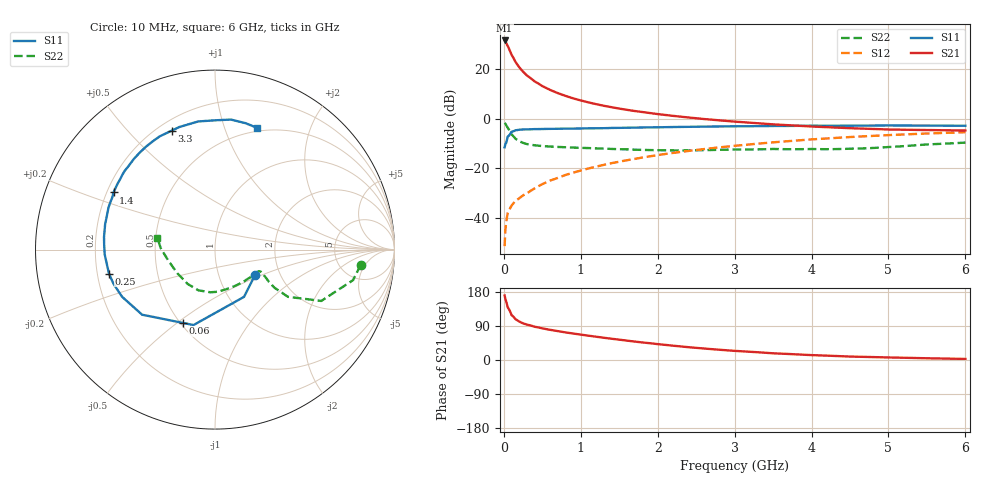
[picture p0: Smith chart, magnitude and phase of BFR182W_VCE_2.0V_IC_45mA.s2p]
! Infineon Technologies  Discrete & RF Semiconductors
! BFR182W
! VCE =  2.0 V,  IC =  45 mA
! Common Emitter S-Parameters:  Jan 2017
# GHz  S  MA  R  50
!  f  S11  S21  S12  S22
! GHz  MAG  ANG  MAG  ANG  MAG  ANG  MAG  ANG
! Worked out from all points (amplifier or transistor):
!   77 points, 10 MHz to 6 GHz, reference 50 ohm
!   highest |S21| = 31.5 dB at 10 MHz (marker M1)
!   |S21| within 3 dB of that: start of sweep to 62.06 MHz
!   unconditionally stable (mu >= 1): start of sweep to 15.82 MHz; 214.8 MHz to 3.468 GHz; 4.084 GHz to end of sweep (the widest 3 of 4)
!   at 130 MHz: K = 0.78, MSG = 29.0 dB, |S12| = -33.9 dB
!   at 2.2 GHz: K = 1.10, MAG = 5.5 dB, |S12| = -13.8 dB
!   at 6 GHz: K = 1.05, MAG = -1.1 dB, |S12| = -5.5 dB
!   S11 on the Smith chart (normalised r, x): 10 MHz: 1.49, -0.46; 60 MHz: 0.52, -0.53; 250 MHz: 0.25, -0.11; 1.4 GHz: 0.23, +0.25; 3.3 GHz: 0.25, +0.67; 6 GHz: 0.46, +1.30
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0.01  0.2643 -32.8  37.53 170.3  0.0027 66.4  0.8164 -6.0
0.02  0.309 -58.4  36.43 161.3  0.0058 66.5  0.7876 -12.5
0.04  0.3688 -94.0  31.03 147.5  0.0103 60.6  0.6966 -20.8
0.05  0.437 -105.9  29.18 139.0  0.0125 59.2  0.6577 -25.8
0.06  0.4455 -113.4  27.01 136.1  0.0135 58.0  0.6224 -26.9
0.1  0.5445 -138.2  19.43 118.5  0.0176 54.7  0.4844 -32.9
0.15  0.5807 -153.1  14 108.0  0.0219 53.4  0.3952 -32.7
0.2  0.5968 -161.4  10.83 101.5  0.0249 57.3  0.3504 -30.9
0.25  0.6055 -167.2  8.813 96.7  0.0285 59.9  0.3248 -29.0
0.3  0.6074 -171.6  7.396 93.4  0.0313 61.6  0.3073 -27.6
0.4  0.6153 -177.6  5.626 87.8  0.0394 66.1  0.2903 -26.1
0.5  0.6182 177.4  4.524 83.5  0.0479 68.8  0.2802 -25.7
0.7  0.6243 170.2  3.269 76.3  0.0639 72.1  0.2692 -27.0
0.9  0.6296 163.9  2.563 69.9  0.0815 72.6  0.2613 -30.1
1.1  0.6381 158.3  2.124 64.2  0.0992 72.8  0.2553 -34.0
1.4  0.6486 150.6  1.7 56.1  0.1267 72.2  0.2453 -41.2
2.1  0.6729 134.2  1.185 39.9  0.1941 67.7  0.2299 -63.8
3.1  0.7023 114.0  0.849 22.9  0.2931 57.9  0.2388 -99.2
3.3  0.7052 110.1  0.807 20.5  0.3129 55.7  0.2404 -105.6
4.1  0.7191 95.9  0.683 12.2  0.3901 46.3  0.243 -132.5
5.1  0.728 81.7  0.601 6.3  0.4729 34.1  0.2732 -170.2
6  0.7178 71.0  0.577 2.8  0.5329 23.4  0.3289 168.2
